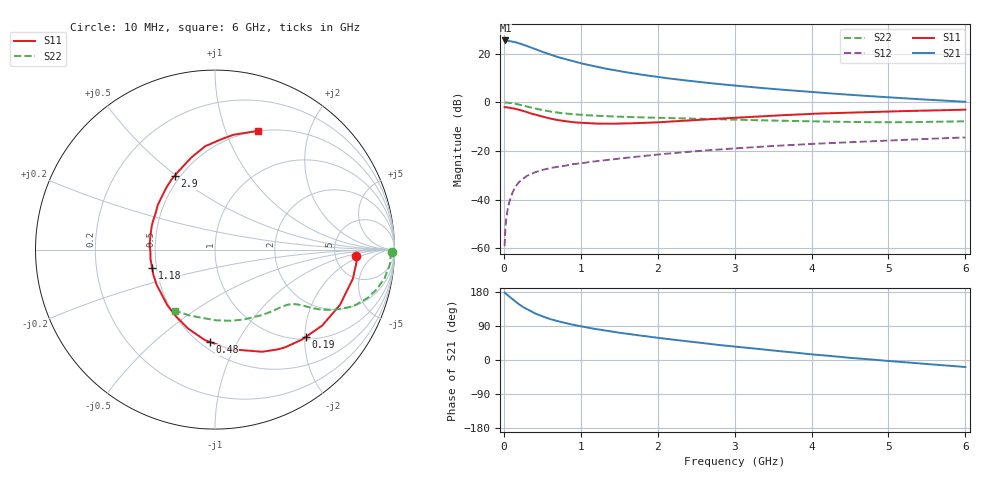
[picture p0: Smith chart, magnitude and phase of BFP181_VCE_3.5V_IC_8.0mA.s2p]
! Infineon Technologies  Discrete & RF Semiconductors
! BFP181
! VCE = 3.5 V,  IC =  8.0 mA
! Common Emitter S-Parameters:  Jan 2016
# GHz  S  MA  R  50
!  f  S11  S21  S12  S22
! GHz  MAG  ANG  MAG  ANG  MAG  ANG  MAG  ANG
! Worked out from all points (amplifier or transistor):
!   210 points, 10 MHz to 6 GHz, reference 50 ohm
!   highest |S21| = 25.4 dB at 20 MHz (marker M1)
!   |S21| within 3 dB of that: start of sweep to 361.2 MHz
!   unconditionally stable (mu >= 1): 1.324 GHz to end of sweep
!   at 185 MHz: K = 0.24, MSG = 28.8 dB, |S12| = -33.3 dB
!   at 1.52 GHz: K = 1.05, MAG = 16.5 dB, |S12| = -23.1 dB
!   at 6 GHz: K = 1.02, MAG = 6.5 dB, |S12| = -14.5 dB
!   S11 on the Smith chart (normalised r, x): 10 MHz: 8.13, -1.53; 190 MHz: 1.05, -2.02; 480 MHz: 0.55, -0.78; 1.18 GHz: 0.47, -0.11; 2.9 GHz: 0.47, +0.49; 6 GHz: 0.50, +1.30
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0.01  0.7877 -2.6  18.5 177.9  0.0011 77.9  0.9844 -0.8
0.02  0.7917 -5.0  18.57 176.6  0.0026 82.9  0.98 -1.9
0.05  0.7849 -12.0  18.37 171.0  0.0063 85.3  0.9777 -4.9
0.1  0.7617 -23.8  17.73 162.6  0.0123 75.9  0.9582 -9.6
0.15  0.7318 -35.4  17.13 154.2  0.0181 72.0  0.9268 -13.9
0.19  0.7013 -44.0  16.43 148.3  0.0221 68.0  0.8984 -16.8
0.24  0.6707 -54.1  15.43 141.3  0.0261 64.8  0.8597 -20.1
0.3  0.6266 -65.3  14.34 134.2  0.0306 60.1  0.8136 -23.2
0.4  0.5609 -81.5  12.49 123.4  0.036 55.7  0.7443 -26.8
0.48  0.5149 -93.3  11.16 116.9  0.0397 52.0  0.7005 -28.6
0.6  0.464 -109.1  9.621 108.2  0.0443 49.8  0.6454 -30.6
0.7  0.4305 -120.4  8.472 102.4  0.047 48.3  0.6114 -31.6
0.8  0.4076 -130.9  7.672 97.3  0.0496 47.2  0.5864 -32.3
1.02  0.3772 -150.6  6.213 88.2  0.0559 46.5  0.5476 -33.8
1.18  0.3649 -163.6  5.458 82.3  0.0607 45.8  0.5293 -35.0
1.56  0.3657 172.4  4.206 70.4  0.0712 45.6  0.5008 -38.4
2.02  0.3868 149.3  3.263 58.1  0.0846 44.3  0.4782 -43.8
2.9  0.4681 118.8  2.276 37.5  0.1094 39.9  0.4416 -56.9
3.1  0.4866 113.5  2.129 33.5  0.1151 38.6  0.4331 -60.3
4.1  0.5846 93.7  1.579 13.3  0.1412 31.7  0.402 -80.0
5.1  0.6521 79.8  1.232 -4.1  0.1655 24.8  0.3873 -102.3
6  0.7029 70.1  1.019 -18.6  0.1888 18.1  0.4065 -123.1
